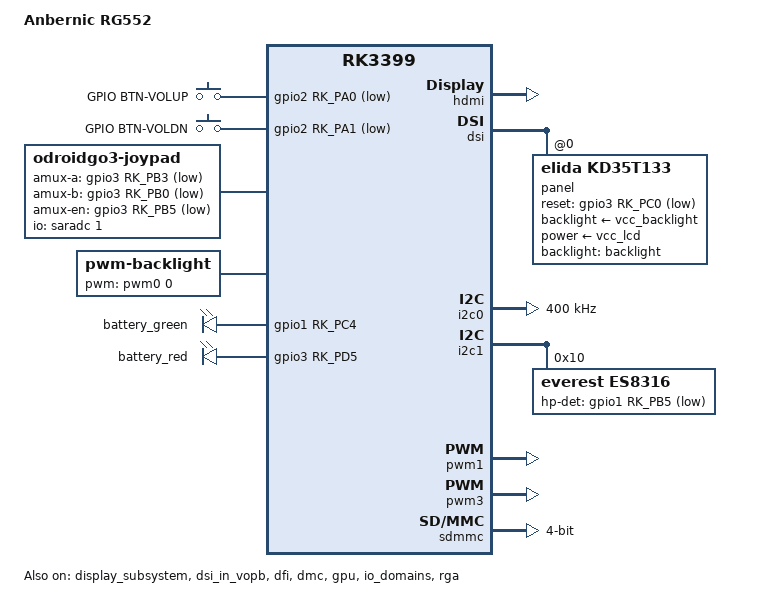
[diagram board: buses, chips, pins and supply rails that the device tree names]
// SPDX-License-Identifier: (GPL-2.0+ OR MIT)
/*
 * Copyright (c) 2021 Anbernic
 *
 * Anbernic RG351MP
 *
 */

/dts-v1/;
#include <dt-bindings/display/drm_mipi_dsi.h>
#include <dt-bindings/gpio/gpio.h>
#include <dt-bindings/input/input.h>
#include <dt-bindings/pinctrl/rockchip.h>
#include <dt-bindings/sensor-dev.h>
#include "rk3399.dtsi"
#include "rk3399-linux.dtsi"

/ {
	model = "Anbernic RG552";
	compatible = "rockchip,rk3399-rg552-linux", "rockchip,rk3399";

	chosen {
                bootargs = "";
	};

	gpio_keys: rg552-keys {
		compatible = "gpio-keys";
		#address-cells = <1>;
		#size-cells = <0>;
		autorepeat;
		button@0 {
			label = "GPIO BTN-VOLUP";
			linux,code = <KEY_VOLUMEUP>;
			gpios = <&gpio2 RK_PA0 GPIO_ACTIVE_LOW>;
		};
		button@1 {
			label = "GPIO BTN-VOLDN";
			linux,code = <KEY_VOLUMEDOWN>;
			gpios = <&gpio2 RK_PA1 GPIO_ACTIVE_LOW>;
		};
	};

	joypad: odroidgo3-joypad {
                compatible = "odroidgo3-joypad";

                joypad-name = "GO-Super Gamepad";
                joypad-product = <0x1100>;
                joypad-revision = <0x0100>;

		status = "okay";
                /*
                  - odroidgo3-joypad sysfs list -
		   * for poll device interval(ms)
		   /sys/devices/platform/odroidgo3_joypad/poll_interval [rw]
		   ex) echo 20 > poll_interval
                   * for button-adc-fuzz
		   /sys/devices/platform/odroidgo3_joypad/adc_fuzz [r]
                   * for button-adc-flat
		   /sys/devices/platform/odroidgo3_joypad/adc_flat [r]

		   * for report control(1:enable, 0:disable)
		   /sys/devices/platform/odroidgo3_joypad/enable [rw]
		   * for adc calibration value setup(current adcs value -> cal value)
		   /sys/devices/platform/odroidgo3_joypad/adc_cal [rw]
		   ex) echo 0 > adc_cal
		   * for amux data debug
		   * Joypad driver is disabled when using this sysfs.
		   /sys/devices/platform/odroidgo3_joypad/amux_debug [rw]
		   ex) echo 0 > amux_debug --> select amux channel
		   ex) cat amux_debug --> get adc data of seleted channel
                */

		/* gpio pincontrol setup */
                pinctrl-names = "default";
                pinctrl-0 = <&btn_pins>;

		/* Analog mux define */
		io-channel-names = "amux_adc";
		io-channels = <&saradc 1>;

		/* adc mux channel count */
		amux-count = <4>;
		/* adc mux select(a,b) gpio */
		amux-a-gpios = <&gpio3 RK_PB3 GPIO_ACTIVE_LOW>;
		amux-b-gpios = <&gpio3 RK_PB0 GPIO_ACTIVE_LOW>;
		/* adc mux enable gpio */
		amux-en-gpios = <&gpio3 RK_PB5 GPIO_ACTIVE_LOW>;

		/* adc calculate scale */
		button-adc-scale = <2>;

		/* adc deadzone range  */
		button-adc-deadzone = <64>;

		/*
		  specifies fuzz value that is used to filter noise from
		  the event stream.
		*/
		button-adc-fuzz = <32>;
		button-adc-flat = <32>;

		/*
		  Analog Stick data tuning value(precent)
		  p = positive direction, n = negative direction
		  report value = (real_adc_data * tuning_value) / 100
		*/
		abs_x-p-tuning = <200>;
		abs_x-n-tuning = <200>;

		abs_y-p-tuning = <200>;
		abs_y-n-tuning = <200>;

		abs_rx-p-tuning = <200>;
		abs_rx-n-tuning = <200>;

		abs_ry-p-tuning = <200>;
		abs_ry-n-tuning = <200>;

		/* poll device interval (ms), adc read interval */
		poll-interval = <10>;

		/* required for RG351MP */
		invert-absx;
		invert-absy;

		/* gpio button auto repeat set value : default disable */
		/*
			autorepeat;
		*/

		/*
		      *** ODROIDGO3-Advance Switch layoout ***
		|------------------------------------------------|
		| sw15  sw21        sw10   sw9        sw20  sw16 |
		|------------------------------------------------|
		|      sw19                            sw22      |
		|              |-------------------|             |
		|     sw1      |                   |      sw8    |
		|  sw3   sw4   |                   |   sw7   sw5 |
		|     sw2      |    LCD Display    |      sw6    |
		|              |                   |             |
		|              |                   |             |
		|              |-------------------|             |
		|  sw11 sw12        | sd-slot |       sw13 sw14  |
		|-------------------|         |------------------|
		*/
                /*
                    joypad driver is poll-device driver.
                    poll-device is does not support wakeup-source.
		*/
                sw1 {
                        gpios = <&gpio1 RK_PB4 GPIO_ACTIVE_LOW>;
                        label = "GPIO DPAD-UP";
                        linux,code = <BTN_DPAD_UP>; // 0x220
                };
                sw2 {
                        gpios = <&gpio1 RK_PB5 GPIO_ACTIVE_LOW>;
                        label = "GPIO DPAD-DOWN";
                        linux,code = <BTN_DPAD_DOWN>; // 0x221
                };
                sw3 {
                        gpios = <&gpio1 RK_PB6 GPIO_ACTIVE_LOW>;
                        label = "GPIO DPAD-LEFT";
                        linux,code = <BTN_DPAD_LEFT>; // 0x222
                };
                sw4 {
                        gpios = <&gpio1 RK_PB7 GPIO_ACTIVE_LOW>;
                        label = "GPIO DPAD-RIGHT";
                        linux,code = <BTN_DPAD_RIGHT>; // 0x223
                };
                sw5 {
                        gpios = <&gpio1 RK_PA2 GPIO_ACTIVE_LOW>;
                        label = "GPIO KEY BTN-A";
                        linux,code = <BTN_EAST>; // 0x131
                };
                sw6 {
                        gpios = <&gpio1 RK_PA5 GPIO_ACTIVE_LOW>;
                        label = "GPIO BTN-B";
                        linux,code = <BTN_SOUTH>; // 0x130
                };
                sw7 {
                        gpios = <&gpio1 RK_PA6 GPIO_ACTIVE_LOW>;
                        label = "GPIO BTN-Y";
                        linux,code = <BTN_WEST>; // 0x134
                };
                sw8 {
                        gpios = <&gpio1 RK_PA7 GPIO_ACTIVE_LOW>;
                        label = "GPIO BTN-X";
                        linux,code = <BTN_NORTH>; // 0x133
                };
                sw11 {
                        gpios = <&gpio2 RK_PA2 GPIO_ACTIVE_LOW>;
                        label = "GPIO F3";
                        linux,code = <BTN_TRIGGER_HAPPY3>; // 0x2c2
                };
                sw12 {
                        gpios = <&gpio2 RK_PA3 GPIO_ACTIVE_LOW>;
                        label = "GPIO F4";
                        linux,code = <BTN_TRIGGER_HAPPY4>; // 0x2c3
                };
                /*sw13 {
                        gpios = <&gpio2 RK_PA4 GPIO_ACTIVE_LOW>;
                        label = "GPIO F5";
                        linux,code = <BTN_TRIGGER_HAPPY5>; // 0x2c4
                };
                sw14 {
                        gpios = <&gpio2 RK_PA5 GPIO_ACTIVE_LOW>;
                        label = "GPIO F6";
                        linux,code = <BTN_TRIGGER_HAPPY6>; // 0x13c
                };*/
                sw15 {
                        gpios = <&gpio2 RK_PA6 GPIO_ACTIVE_LOW>;
                        label = "GPIO TOP-LEFT";
                        linux,code = <BTN_TL>; // 0x02
                };
                sw16 {
                        gpios = <&gpio2 RK_PA7 GPIO_ACTIVE_LOW>;
                        label = "GPIO TOP-RIGHT";
                        linux,code = <BTN_TR>; // 0x05
                };
                sw19 {
                        gpios = <&gpio3 RK_PB1 GPIO_ACTIVE_LOW>;
                        label = "GPIO F1";
                        linux,code = <BTN_TRIGGER_HAPPY1>;
                };
                sw20 {
                        gpios = <&gpio3 RK_PB7 GPIO_ACTIVE_LOW>;
                        label = "GPIO TOP-RIGHT2";
                        linux,code = <BTN_TR2>;
                };
                sw21 {
                        gpios = <&gpio3 RK_PB2 GPIO_ACTIVE_LOW>;
                        label = "GPIO TOP-LEFT2";
                        linux,code = <BTN_TL2>;
                };
                sw22 {
                        gpios = <&gpio3 RK_PB4 GPIO_ACTIVE_LOW>;
                        label = "GPIO F2";
                        linux,code = <BTN_TRIGGER_HAPPY2>;
                };
        };

	fiq_debugger: fiq-debugger {
		compatible = "rockchip,fiq-debugger";
		rockchip,serial-id = <2>;
		rockchip,wake-irq = <0>;
		/* If enable uart uses irq instead of fiq */
		rockchip,irq-mode-enable = <0>;
		rockchip,baudrate = <1500000>;  /* Only 115200 and 1500000 */
		pinctrl-names = "default";
		pinctrl-0 = <&uart2c_xfer>;
		interrupts = <GIC_SPI 150 IRQ_TYPE_LEVEL_HIGH 0>;
	};

	backlight: backlight {
		compatible = "pwm-backlight";
		pwms = <&pwm0 0 25000 0>;
		brightness-levels = <
		0 1 2 3 4 5 6 7
		8 9 10 11 12 13 14 15
		16 17 18 19 20 21 22 23
		24 25 26 27 28 29 30 31
		32 33 34 35 36 37 38 39
		40 41 42 43 44 45 46 47
		48 49 50 51 52 53 54 55
		56 57 58 59 60 61 62 63
		64 65 66 67 68 69 70 71
		72 73 74 75 76 77 78 79
		80 81 82 83 84 85 86 87
		88 89 90 91 92 93 94 95
		96 97 98 99 100 101 102 103
		104 105 106 107 108 109 110 111
		112 113 114 115 116 117 118 119
		120 121 122 123 124 125 126 127
		128 129 130 131 132 133 134 135
		136 137 138 139 140 141 142 143
		144 145 146 147 148 149 150 151
		152 153 154 155 156 157 158 159
		160 161 162 163 164 165 166 167
		168 169 170 171 172 173 174 175
		176 177 178 179 180 181 182 183
		184 185 186 187 188 189 190 191
		192 193 194 195 196 197 198 199
		200 201 202 203 204 205 206 207
		208 209 210 211 212 213 214 215
		216 217 218 219 220 221 222 223
		224 225 226 227 228 229 230 231
		232 233 234 235 236 237 238 239
		240 241 242 243 244 245 246 247
		248 249 250 251 252 253 254 255>;
		default-brightness-level = <200>;
	};

	leds: gpio_leds {
		compatible = "gpio-leds";
		pinctrl-names = "default";
		pinctrl-0 =<&leds_gpio>;
		led@1 {
			gpios = <&gpio1 RK_PC4 GPIO_ACTIVE_HIGH>;
			label = "battery_green";
			default-state= "on";
		};
		led@2 {
			gpios = <&gpio3 RK_PD5 GPIO_ACTIVE_HIGH>;
			label = "battery_red";
		};
	};

	es8316-sound {
		compatible = "simple-audio-card";
		simple-audio-card,format = "i2s";
		simple-audio-card,name = "ES8316";
		simple-audio-card,mclk-fs = <256>;
		simple-audio-card,widgets =
		"Microphone", "Mic Jack", "Headphone", "Headphone Jack";
		simple-audio-card,routing =
		"Headphone Jack", "HPOL", "Headphone Jack", "HPOR", "Mic Jack", "MIC1";
		simple-audio-card,cpu {
			sound-dai = <&i2s1>;
		};
		simple-audio-card,codec {
			sound-dai = <&es8316>;
		};
	};
	hdmi-sound {
		compatible = "simple-audio-card";
		simple-audio-card,format = "i2s";
		simple-audio-card,mclk-fs = <256>;
		simple-audio-card,name = "HDMI";
		simple-audio-card,cpu {
			sound-dai = <&i2s2>;
		};
		simple-audio-card,codec {
			sound-dai = <&hdmi>;
		};
	};

	rga: rga@ff680000 {
		compatible = "rockchip,rga2";
		dev_mode = <1>;
		reg = <0x0 0xff680000 0x0 0x1000>;
		interrupts = <GIC_SPI 55 IRQ_TYPE_LEVEL_HIGH 0>;
		clocks = <&cru ACLK_RGA>, <&cru HCLK_RGA>,<&cru SCLK_RGA_CORE>;
		clock-names = "aclk_rga", "hclk_rga","clk_rga";
		power-domains = <&power RK3399_PD_RGA>;
		dma-coherent;
		status = "okay";
	};
};

&display_subsystem {
	status = "okay";
	route {
		route_hdmi: route-hdmi {
			status = "okay";
			connect = <&vopb_out_hdmi>;
		};
		route_dsi: route-dsi {
			status = "okay";
			connect = <&vopb_out_dsi>;
		};
		route_dp: route-dp {
			connect = <&vopl_out_dp>;
		};
	};
};

&hdmi {
	#address-cells = <1>;
	#size-cells = <0>;
	#sound-dai-cells = <0>;
	status = "okay";
	rockchip,phy-table =
	<74250000 0x8009 0x0004 0x0272>, <165000000 0x802b 0x0004 0x0209>, <297000000 0x8039 0x0005 0x028d>, <594000000 0x8039 0x0000 0x019d>, <000000000 0x0000 0x0000 0x0000>;
};

&dsi {
	status = "okay";

	panel@0 {
		compatible = "elida,kd35t133", "simple-panel-dsi";
		reg = <0>;

		/* pwm3 backlight */
		backlight = <&backlight>;
		/* RK817 LDO7 */
		backlight-supply = <&vcc_backlight>;
		/* RK817 LDO8 */
		power-supply = <&vcc_lcd>;

		/* Rev 0.2 LCD reset gpio GPIO3.C0 */
		reset-gpios = <&gpio3 RK_PC0 GPIO_ACTIVE_LOW>;

		prepare-delay-ms = <2>;
		reset-delay-ms = <1>;
		init-delay-ms = <20>;
		enable-delay-ms = <120>;
		disable-delay-ms = <50>;
		unprepare-delay-ms = <20>;

		/* LCD size */
		width-mm = <52>;
		height-mm = <70>;

		dsi,flags = <(MIPI_DSI_MODE_VIDEO           |
			      MIPI_DSI_MODE_VIDEO_BURST     |
			      MIPI_DSI_MODE_LPM             |
			      MIPI_DSI_MODE_EOT_PACKET)>;

		dsi,format = <MIPI_DSI_FMT_RGB888>;
		dsi,lanes = <4>;

		/*
			- panel-init-sequence data description -
			  mipi_cmd, delay(ms), len, lcd_cmd, lcd_data...

			- mipi_cmd description -
			  05 : MIPI_DSI_SHORT_WRITE
			  15 : MIPI_DSI_SHORT_WRITE_PARAM
			  39 : MIPI_DSI_LONG_WRITE

			- ILI9486 (Initialize sequence) -
			  11: Sleep out & 250ms wait
			  E0: PositiveGamma
			  E1: NegativeGamma
			  C0: PowerControl_1
			  C1: PowerControl_2
			  C5: VcomControl
			  36: MemoryAccess
			  3A: InterfacePixelFormat
			  B0: InterfaceModeControl
			  B1: FrameRateControl
			  B4: DisplayInversionControl
			  B6: DisplayFunctionControl
			  E9: SetImageFunction
			  F7: AdjustControl_3
			  21: DisplayInversionOn
			  29: DisplayOn & 50ms wait
		*/

		panel-init-sequence = [
			15 00 02 FF 30
			15 00 02 FF 52
			15 00 02 FF 01
			15 00 02 E3 00
			15 00 02 40 0A
			15 00 02 03 40
			15 00 02 04 00
			15 00 02 05 03
			15 00 02 24 12
			15 00 02 25 1E
			15 00 02 26 28
			15 00 02 27 52
			15 00 02 28 57
			15 00 02 29 01
			15 00 02 2A DF
			15 00 02 38 9C
			15 00 02 39 A7
			15 00 02 3A 53
			15 00 02 44 00
			15 00 02 49 3C
			15 00 02 59 FE
			15 00 02 5C 00
			15 00 02 91 77
			15 00 02 92 77
			15 00 02 A0 55
			15 00 02 A1 50
			15 00 02 A4 9C
			15 00 02 A7 02
			15 00 02 A8 01
			15 00 02 A9 01
			15 00 02 AA FC
			15 00 02 AB 28
			15 00 02 AC 06
			15 00 02 AD 06
			15 00 02 AE 06
			15 00 02 AF 03
			15 00 02 B0 08
			15 00 02 B1 26
			15 00 02 B2 28
			15 00 02 B3 28
			15 00 02 B4 33
			15 00 02 B5 08
			15 00 02 B6 26
			15 00 02 B7 08
			15 00 02 B8 26
			15 00 02 FF 30
			15 00 02 FF 52
			15 00 02 FF 02
			15 00 02 B0 0B
			15 00 02 B1 16
			15 00 02 B2 17
			15 00 02 B3 2C
			15 00 02 B4 32
			15 00 02 B5 3B
			15 00 02 B6 29
			15 00 02 B7 40
			15 00 02 B8 0D
			15 00 02 B9 05
			15 00 02 BA 12
			15 00 02 BB 10
			15 00 02 BC 12
			15 00 02 BD 15
			15 00 02 BE 19
			15 00 02 BF 0E
			15 00 02 C0 16
			15 00 02 C1 0A
			15 00 02 D0 0C
			15 00 02 D1 17
			15 00 02 D2 14
			15 00 02 D3 2E
			15 00 02 D4 32
			15 00 02 D5 3C
			15 00 02 D6 22
			15 00 02 D7 3D
			15 00 02 D8 0D
			15 00 02 D9 07
			15 00 02 DA 13
			15 00 02 DB 13
			15 00 02 DC 11
			15 00 02 DD 15
			15 00 02 DE 19
			15 00 02 DF 10
			15 00 02 E0 17
			15 00 02 E1 0A
			15 00 02 FF 30
			15 00 02 FF 52
			15 00 02 FF 03
			15 00 02 00 2A
			15 00 02 01 2A
			15 00 02 02 2A
			15 00 02 03 2A
			15 00 02 04 61
			15 00 02 05 80
			15 00 02 06 C7
			15 00 02 07 01
			15 00 02 08 82
			15 00 02 09 83
			15 00 02 30 2A
			15 00 02 31 2A
			15 00 02 32 2A
			15 00 02 33 2A
			15 00 02 34 61
			15 00 02 35 C5
			15 00 02 36 80
			15 00 02 37 23
			15 00 02 40 82
			15 00 02 41 83
			15 00 02 42 80
			15 00 02 43 81
			15 00 02 44 11
			15 00 02 45 E6
			15 00 02 46 E5
			15 00 02 47 11
			15 00 02 48 E8
			15 00 02 49 E7
			15 00 02 50 02
			15 00 02 51 01
			15 00 02 52 04
			15 00 02 53 03
			15 00 02 54 11
			15 00 02 55 EA
			15 00 02 56 E9
			15 00 02 57 11
			15 00 02 58 EC
			15 00 02 59 EB
			15 00 02 7E 02
			15 00 02 7F 80
			15 00 02 E0 5A
			15 00 02 B1 00
			15 00 02 B4 0E
			15 00 02 B5 0F
			15 00 02 B6 04
			15 00 02 B7 07
			15 00 02 B8 06
			15 00 02 B9 05
			15 00 02 BA 0F
			15 00 02 C7 00
			15 00 02 CA 0E
			15 00 02 CB 0F
			15 00 02 CC 04
			15 00 02 CD 07
			15 00 02 CE 06
			15 00 02 CF 05
			15 00 02 D0 0F
			15 00 02 81 0F
			15 00 02 84 0E
			15 00 02 85 0F
			15 00 02 86 07
			15 00 02 87 04
			15 00 02 88 05
			15 00 02 89 06
			15 00 02 8A 00
			15 00 02 97 0F
			15 00 02 9A 0E
			15 00 02 9B 0F
			15 00 02 9C 07
			15 00 02 9D 04
			15 00 02 9E 05
			15 00 02 9F 06
			15 00 02 A0 00
			15 00 02 FF 30
			15 00 02 FF 52
			15 00 02 FF 02
			15 00 02 01 01
			15 00 02 02 DA
			15 00 02 03 BA
			15 00 02 04 A8
			15 00 02 05 9A
			15 00 02 06 70
			15 00 02 07 FF
			15 00 02 08 91
			15 00 02 09 90
			15 00 02 0A FF
			15 00 02 0B 8F
			15 00 02 0C 60
			15 00 02 0D 58
			15 00 02 0E 48
			15 00 02 0F 38
			15 00 02 10 2B
			15 00 02 FF 30
			15 00 02 FF 52
			15 00 02 FF 00
			15 00 02 36 02
			15 00 02 3A 70
			05 C8 01 11
			05 0A 01 29
		];

		/* 28: DisplayOff */
		/* 10: SleepIn */
		panel-exit-sequence = [
			05 14 01 28
			05 0A 01 10
		];

		display-timings {
			native-mode = <&timing0>;

			timing0: timing0 {
				clock-frequency = <26400000>;
				hactive = <640>;
				vactive = <480>;
				hfront-porch = <119>;
				hsync-len = <2>;
				hback-porch = <119>;
				vfront-porch = <13>;
				vsync-len = <2>;
				vback-porch = <5>;
				hsync-active = <0>;
				vsync-active = <0>;
				de-active = <0>;
				pixelclk-active = <0>;
			};
		};
	};
};

&dsi_in_vopb {
	status = "okay";
};

&dfi {
	status = "okay";
};

&dmc {
	status = "okay";
	center-supply = <&vdd_center>;
	upthreshold = <40>;
	downdifferential = <20>;
	system-status-freq = <
	/*system status freq(KHz)*/
	SYS_STATUS_NORMAL 666000
	SYS_STATUS_REBOOT 666000
	SYS_STATUS_SUSPEND 328000
	SYS_STATUS_VIDEO_1080P 666000
	SYS_STATUS_VIDEO_4K 856000
	SYS_STATUS_VIDEO_4K_10B 856000
	SYS_STATUS_PERFORMANCE 856000
	SYS_STATUS_BOOST 856000
	SYS_STATUS_DUALVIEW 856000
	SYS_STATUS_ISP 856000
	>;
	vop-bw-dmc-freq = <
	/* min_bw(MB/s) max_bw(MB/s) freq(KHz) */
	0 762 416000
	763 3012 666000
	3013 99999 856000
	>;
	auto-min-freq = <328000>;
	auto-freq-en = <0>;
};

&gpu {
	mali-supply = <&vdd_logic>;
	status = "okay";
};

&i2c0 {
	status = "okay";
	clock-frequency = <400000>;
	i2c-scl-rising-time-ns = <280>;
	i2c-scl-falling-time-ns = <16>;

	cw2015@62 {
		status = "disabled";
		compatible = "cw201x";
		reg = <0x62>;
		bat_config_info = <0x15 0x42 0x60 0x59 0x52 0x58 0x4D 0x48
				   0x48 0x44 0x44 0x46 0x49 0x48 0x32 0x24
				   0x20 0x17 0x13 0x0F 0x19 0x3E 0x51 0x45
				   0x08 0x76 0x0B 0x85 0x0E 0x1C 0x2E 0x3E
				   0x4D 0x52 0x52 0x57 0x3D 0x1B 0x6A 0x2D
				   0x25 0x43 0x52 0x87 0x8F 0x91 0x94 0x52
				   0x82 0x8C 0x92 0x96 0xFF 0x7B 0xBB 0xCB
				   0x2F 0x7D 0x72 0xA5 0xB5 0xC1 0x46 0xAE>;
		monitor_sec = <5>;
		virtual_power = <0>;
		divider_res1 = <200>;
		divider_res2 = <200>;

		regulators {
			vdd_logic: DCDC_REG1 {
				regulator-always-on;
				regulator-boot-on;
				regulator-min-microvolt = <950000>;
				regulator-max-microvolt = <1150000>;
				regulator-ramp-delay = <6001>;
				regulator-initial-mode = <0x2>;
				regulator-name = "vdd_logic";
				regulator-state-mem {
					regulator-on-in-suspend;
					regulator-suspend-microvolt = <950000>;
				};
			};

			vcc_sdio: LDO_REG5 {
				regulator-always-on;
				regulator-boot-on;
				regulator-min-microvolt = <1800000>;
				regulator-max-microvolt = <1800000>;

				regulator-name = "vcc_sdio";
				regulator-state-mem {
					regulator-on-in-suspend;
					regulator-suspend-microvolt = <1800000>;
				};
			};

			vcc_sd: LDO_REG6 {
				regulator-min-microvolt = <1800000>;
				regulator-max-microvolt = <3000000>;
				regulator-boot-on;

				regulator-name = "vcc_sd";
				regulator-state-mem {
					regulator-on-in-suspend;
					regulator-suspend-microvolt = <3000000>;

				};
			};

			vcc_3v0: LDO_REG8 {
				regulator-name = "vcc_3v0";
				regulator-min-microvolt = <3000000>;
				regulator-max-microvolt = <3000000>;
				regulator-always-on;
				regulator-boot-on;
				regulator-state-mem {
					regulator-on-in-suspend;
					regulator-suspend-microvolt = <3000000>;
				};
			};

			vdd_center: vdd_center {
				regulator-name = "vdd_center";
				regulator-min-microvolt = <750000>;
				regulator-max-microvolt = <1350000>;
				regulator-ramp-delay = <6001>;
				regulator-always-on;
				regulator-boot-on;
				regulator-state-mem {
					regulator-off-in-suspend;
				};
			};

			vcc1v8_dvp: LDO_REG1 {
				regulator-name = "vcc1v8_dvp";
				regulator-min-microvolt = <1800000>;
				regulator-max-microvolt = <1800000>;
				regulator-boot-on;
				regulator-state-mem {
					regulator-on-in-suspend;
					regulator-suspend-microvolt = <1800000>;
				};
			};

			vcca3v0_codec: vcca3v0_codec {
				regulator-name = "vcca3v0_codec";
				regulator-min-microvolt = <3000000>;
				regulator-max-microvolt = <3000000>;
				regulator-always-on;
				regulator-boot-on;
				regulator-state-mem {
					regulator-on-in-suspend;
					regulator-suspend-microvolt = <3000000>;
				};
			};

			/* Rev 0.2 LCD Backlight Power */
			vcc_backlight: vcc_backlight {
				regulator-min-microvolt = <3300000>;
				regulator-max-microvolt = <3300000>;
				regulator-name = "vcc_backlight";
				regulator-state-mem {
					regulator-off-in-suspend;
					regulator-suspend-microvolt = <3300000>;
				};
			};

			/* Rev 0.2 LCD IO Power */
			vcc_lcd: vcc_lcd {
				regulator-min-microvolt = <2800000>;
				regulator-max-microvolt = <2800000>;
				regulator-name = "vcc_lcd";
				regulator-state-mem {
					regulator-off-in-suspend;
					regulator-suspend-microvolt = <2800000>;
				};
			};
		};
	};
};

&i2c1 {
	status = "okay";
	i2c-scl-rising-time-ns = <168>;
	i2c-scl-falling-time-ns = <4>;

	es8316: es8316@10 {
		#sound-dai-cells = <0>;
		compatible = "everest,es8316";
		reg = <0x10>;
		clocks = <&cru SCLK_I2S_8CH_OUT>;
		clock-names = "mclk";
		pinctrl-names = "default";
		pinctrl-0 = <&i2s_8ch_mclk>;
		hp-det-gpio = <&gpio1 RK_PB5 GPIO_ACTIVE_LOW>;
	};
};

&io_domains {
	status = "okay";
	bt656-supply = <&vcc1v8_dvp>; /* bt656_gpio2ab_ms */
	audio-supply = <&vcca3v0_codec>; /* audio_gpio3d4a_ms */
	sdmmc-supply = <&vcc_sdio>; /* sdmmc_gpio4b_ms */
	gpio1830-supply = <&vcc_3v0>; /* gpio1833_gpio4cd_ms */
};

&pmu_io_domains {
	status = "okay";
	pmu1830-supply = <&vcc_3v0>;
};

/* RG552 Fan PWM */
&pwm1 {
	status = "okay";
	label = "fan-pwm";
};

/* RG552 Motor PWM */
&pwm3 {
	status = "okay";
	label = "rumble-pwm";
};

&sdmmc {
	clock-frequency = <50000000>;
	max-frequency = <150000000>;
	supports-sd;
	bus-width = <4>;
	cap-mmc-highspeed;
	cap-sd-highspeed;
	disable-wp;
	num-slots = <1>;
	sd-uhs-sdr12;
	sd-uhs-sdr25;
	sd-uhs-sdr50;
	sd-uhs-sdr104;
	vqmmc-supply = <&vcc_sdio>; /* LDO_REG4 */
	pinctrl-names = "default";
	pinctrl-0 = <&sdmmc_clk &sdmmc_cmd &sdmmc_cd &sdmmc_bus4>;
	card-detect-delay = <800>;
	status = "okay";
};

&pinctrl {

	gpio-leds {
		leds_gpio: leds-gpio {
			rockchip,pins =
			<1 RK_PC4 RK_FUNC_GPIO &pcfg_pull_up>, <3 RK_PD5 RK_FUNC_GPIO &pcfg_pull_up>;
		};
	};
	btns {
		btn_pins: btn-pins {
			rockchip,pins = <1 RK_PB4 RK_FUNC_GPIO &pcfg_pull_up>,
					<1 RK_PB5 RK_FUNC_GPIO &pcfg_pull_up>,
					<1 RK_PB6 RK_FUNC_GPIO &pcfg_pull_up>,
					<1 RK_PB7 RK_FUNC_GPIO &pcfg_pull_up>,
					<1 RK_PA2 RK_FUNC_GPIO &pcfg_pull_up>,
					<1 RK_PA5 RK_FUNC_GPIO &pcfg_pull_up>,
					<1 RK_PA6 RK_FUNC_GPIO &pcfg_pull_up>,
					<1 RK_PA7 RK_FUNC_GPIO &pcfg_pull_up>,

					<2 RK_PA0 RK_FUNC_GPIO &pcfg_pull_up>,
					<2 RK_PA1 RK_FUNC_GPIO &pcfg_pull_up>,
					<2 RK_PA2 RK_FUNC_GPIO &pcfg_pull_up>,
					<2 RK_PA3 RK_FUNC_GPIO &pcfg_pull_up>,
					<2 RK_PA4 RK_FUNC_GPIO &pcfg_pull_up>,
					<2 RK_PA5 RK_FUNC_GPIO &pcfg_pull_up>,
					<2 RK_PA6 RK_FUNC_GPIO &pcfg_pull_up>,
					<2 RK_PA7 RK_FUNC_GPIO &pcfg_pull_up>,
					<3 RK_PB1 RK_FUNC_GPIO &pcfg_pull_up>,
					<3 RK_PB2 RK_FUNC_GPIO &pcfg_pull_up>,
					<3 RK_PB4 RK_FUNC_GPIO &pcfg_pull_up>,
					<3 RK_PB7 RK_FUNC_GPIO &pcfg_pull_up>;
		};
	};
};

/* DON'T PUT ANYTHING BELOW HERE.  PUT IT ABOVE PINCTRL */

